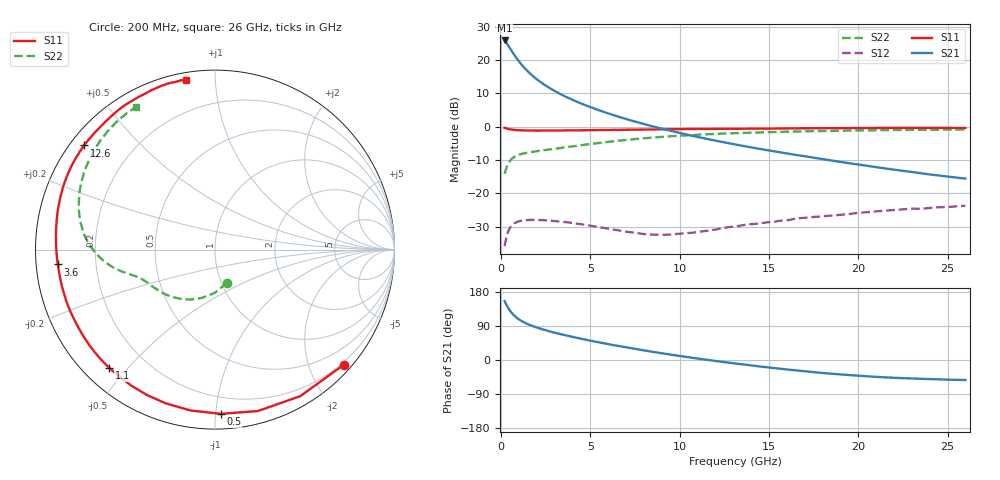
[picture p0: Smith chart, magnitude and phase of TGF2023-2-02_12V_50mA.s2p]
!Data measured by Modelithics Inc.  support@modelithics.com  813-866-6335  Tampa FL USA
!  2-Port S-parameters saved by WinCal
! VAR MeasName=S-Parameters (CALIBRATED_DATA) read from VNA (N5247A)
! VAR MeasDate=6/27/2013 3:20:12 PM
! VAR NAME=Measurement 16
! VAR FILENAME=2p5mm_task1_12p1Vds_m2p82Vgs_50mA_25C_S8.s2p
! VAR DATE=6/27/2013 3:20:12 PM
! VAR PHYS_PORTS=1,2
# Hz S RI R 50
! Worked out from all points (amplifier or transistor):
!   259 points, 200 MHz to 26 GHz, reference 50 ohm
!   highest |S21| = 25.9 dB at 200 MHz (marker M1)
!   |S21| within 3 dB of that: start of sweep to 576.9 MHz
!   unconditionally stable (mu >= 1): 6.062 GHz to 15.59 GHz
!   at 4.5 GHz: K = 0.70, MSG = 18.1 dB, |S12| = -29.3 dB
!   at 13.1 GHz: K = 1.20, MAG = 9.6 dB, |S12| = -29.9 dB
!   at 26 GHz: K = 0.74, MSG = 4.1 dB, |S12| = -23.8 dB
!   S11 on the Smith chart (normalised r, x): 200 MHz: 0.15, -2.61; 500 MHz: 0.09, -1.03; 1.1 GHz: 0.07, -0.45; 3.6 GHz: 0.06, -0.05; 12.6 GHz: 0.04, +0.35; 26 GHz: 0.04, +0.84
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2e8  0.7168 -0.6419  -17.91 8.198  0.00647 0.0148  0.0669 -0.1848
3e8  0.4753 -0.8165  -14.99 10.23  0.0121 0.0187  -0.00235 -0.2419
4e8  0.2388 -0.8994  -12.16 11.28  0.0176 0.0204  -0.0734 -0.2693
5e8  0.0332 -0.9149  -9.684 11.49  0.0223 0.0206  -0.13 -0.2775
6e8  -0.1347 -0.8967  -7.637 11.3  0.0262 0.0201  -0.1792 -0.2771
7e8  -0.2727 -0.8573  -5.993 10.85  0.0292 0.0189  -0.2197 -0.2683
8e8  -0.3798 -0.8099  -4.712 10.31  0.0317 0.0177  -0.2497 -0.2596
9e8  -0.4648 -0.7587  -3.661 9.731  0.0335 0.0164  -0.2754 -0.25
1.1e9  -0.5886 -0.6597  -2.187 8.585  0.0361 0.0139  -0.3128 -0.2287
1.4e9  -0.7006 -0.5318  -0.8447 7.15  0.0383 0.0105  -0.35 -0.2044
1.6e9  -0.7459 -0.4611  -0.2922 6.371  0.0391 0.00867  -0.367 -0.1913
1.9e9  -0.7915 -0.3747  0.2514 5.415  0.0395 0.00635  -0.3878 -0.1766
2.6e9  -0.847 -0.225  0.8838 3.888  0.039 0.00248  -0.4238 -0.1557
3.6e9  -0.8762 -0.083  1.188 2.579  0.0371 -0.00056  -0.4717 -0.1387
4.5e9  -0.885 0.0127  1.247 1.841  0.0344 -0.00198  -0.5149 -0.1235
6.3e9  -0.8822 0.1619  1.155 0.9433  0.0287 -0.00133  -0.6016 -0.0765
8.8e9  -0.8502 0.3361  0.9102 0.3179  0.0235 0.00472  -0.6994 0.0263
1.26e10  -0.7299 0.58  0.5722 -0.0622  0.0269 0.0149  -0.759 0.2289
1.31e10  -0.706 0.6102  0.5358 -0.0869  0.0279 0.0155  -0.7589 0.2575
1.74e10  -0.4725 0.8238  0.2953 -0.1824  0.0402 0.0177  -0.7066 0.4865
2.17e10  -0.2613 0.9252  0.1613 -0.1685  0.0537 0.0145  -0.5935 0.6648
2.6e10  -0.1626 0.9443  0.1009 -0.133  0.0644 0.00731  -0.4399 0.7947
